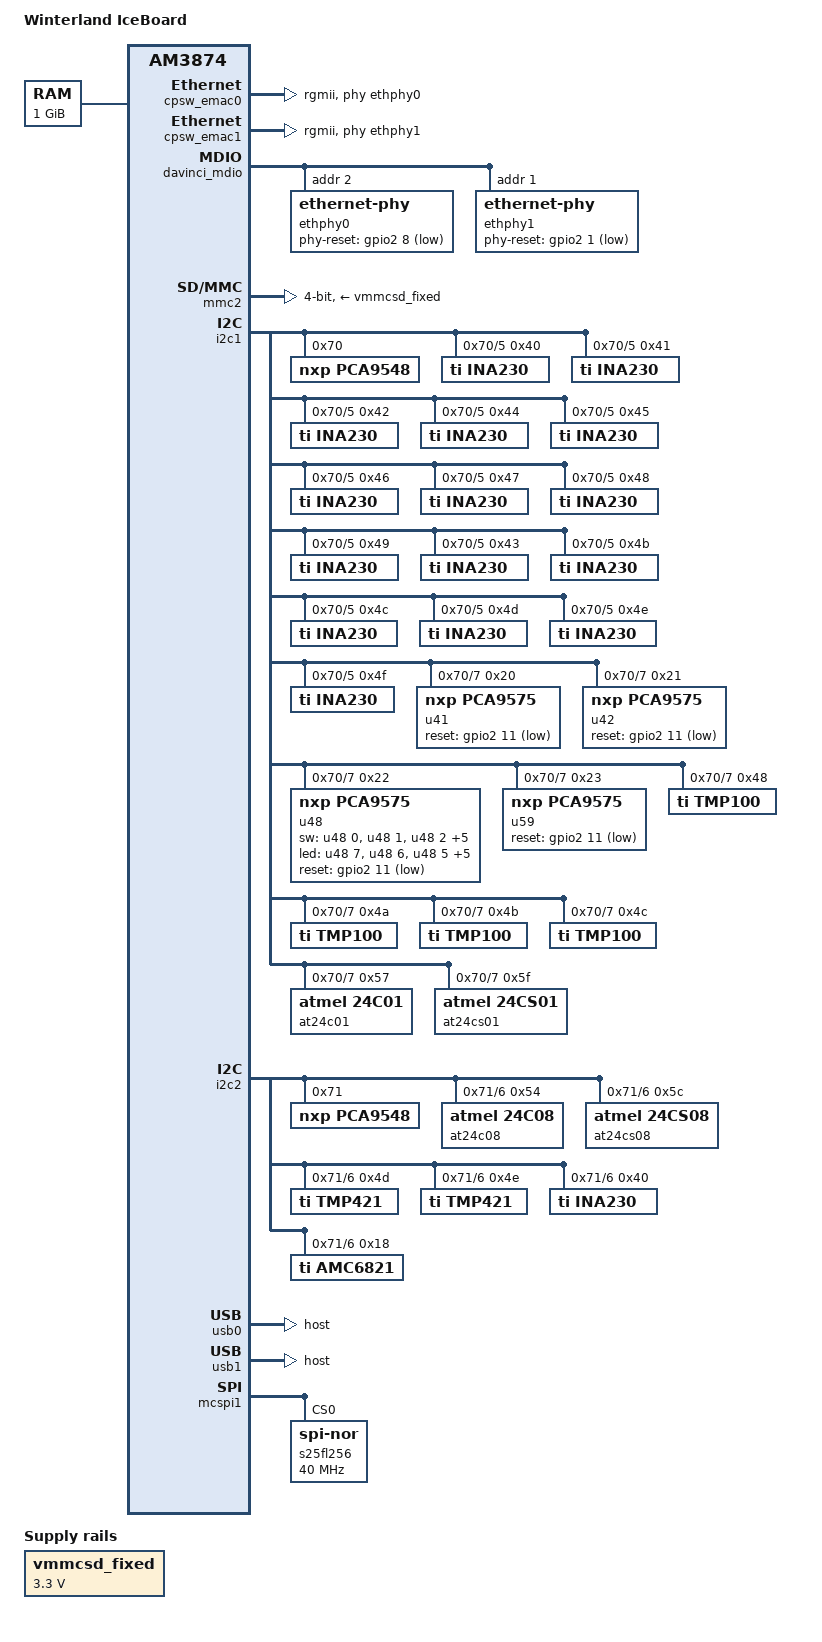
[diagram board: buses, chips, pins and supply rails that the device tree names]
// SPDX-License-Identifier: GPL-2.0
/*
 * Device tree for Winterland IceBoard
 *
 * http://mcgillcosmology.com
 * http://threespeedlogic.com
 *
 * This is an ARM + FPGA instrumentation board used at telescopes in
 * Antarctica (the South Pole Telescope), Chile (POLARBEAR), and at the DRAO
 * observatory in British Columbia (CHIME).
 *
 * Copyright (c) 2019 Three-Speed Logic, Inc. <gsmecher@threespeedlogic.com>
 */

/dts-v1/;

#include "dm814x.dtsi"
#include <dt-bindings/interrupt-controller/irq.h>

/ {
	model = "Winterland IceBoard";
	compatible = "ti,dm8148", "ti,dm814";

	chosen {
		stdout-path = "serial1:115200n8";
		bootargs = "earlycon";
	};

	memory@80000000 {
		device_type = "memory";
		reg = <0x80000000 0x40000000>;	/* 1 GB */
	};

	vmmcsd_fixed: fixedregulator0 {
		compatible = "regulator-fixed";
		regulator-name = "vmmcsd_fixed";
		regulator-min-microvolt = <3300000>;
		regulator-max-microvolt = <3300000>;
		regulator-always-on;
	};
};

/* The MAC provides internal delay for the transmit path ONLY, which is enabled
 * provided no -id/-txid/-rxid suffix is provided to "phy-mode".
 *
 * The receive path is delayed at the PHY. The recommended register settings
 * are 0xf0 for the control bits, and 0x7777 for the data bits. However, the
 * conversion code in the kernel lies: the PHY's registers are 120 ps per tap,
 * and the kernel assumes 200 ps per tap. So we have fudged the numbers here to
 * obtain the correct register settings.
 */
&mac { dual_emac = <1>; };
&cpsw_emac0 {
	phy-handle = <&ethphy0>;
	phy-mode = "rgmii";
	dual_emac_res_vlan = <1>;
};
&cpsw_emac1 {
	phy-handle = <&ethphy1>;
	phy-mode = "rgmii";
	dual_emac_res_vlan = <2>;
};

&davinci_mdio {
	ethphy0: ethernet-phy@0 {
		reg = <0x2>;

		rxc-skew-ps = <3000>;
		rxdv-skew-ps = <0>;

		rxd3-skew-ps = <0>;
		rxd2-skew-ps = <0>;
		rxd1-skew-ps = <0>;
		rxd0-skew-ps = <0>;

		phy-reset-gpios = <&gpio2 8 GPIO_ACTIVE_LOW>;
	};

	ethphy1: ethernet-phy@1 {
		reg = <0x1>;

		rxc-skew-ps = <3000>;
		rxdv-skew-ps = <0>;

		rxd3-skew-ps = <0>;
		rxd2-skew-ps = <0>;
		rxd1-skew-ps = <0>;
		rxd0-skew-ps = <0>;

		phy-reset-gpios = <&gpio2 1 GPIO_ACTIVE_LOW>;
	};
};

&mmc1 { status = "disabled"; };
&mmc2 {
	pinctrl-names = "default";
	pinctrl-0 = <&mmc2_pins>;
	vmmc-supply = <&vmmcsd_fixed>;
	bus-width = <4>;
};
&mmc3 { status = "disabled"; };

&i2c1 {
	/* Most I2C activity happens through this port, with the sole exception
	 * of the backplane. Since there are multiply assigned addresses, the
	 * "i2c-mux-idle-disconnect" is important.
	 */

	pca9548@70 {
		compatible = "nxp,pca9548";
		reg = <0x70>;
		#address-cells = <1>;
		#size-cells = <0>;

		i2c@0 {
			/* FMC A */
			#address-cells = <1>;
			#size-cells = <0>;
			reg = <0>;
			i2c-mux-idle-disconnect;
		};

		i2c@1 {
			/* FMC B */
			#address-cells = <1>;
			#size-cells = <0>;
			reg = <1>;
			i2c-mux-idle-disconnect;
		};

		i2c@2 {
			/* QSFP A */
			#address-cells = <1>;
			#size-cells = <0>;
			reg = <2>;
			i2c-mux-idle-disconnect;
		};

		i2c@3 {
			/* QSFP B */
			#address-cells = <1>;
			#size-cells = <0>;
			reg = <3>;
			i2c-mux-idle-disconnect;
		};

		i2c@4 {
			/* SFP */
			#address-cells = <1>;
			#size-cells = <0>;
			reg = <4>;
			i2c-mux-idle-disconnect;
		};

		i2c@5 {
			#address-cells = <1>;
			#size-cells = <0>;
			reg = <5>;
			i2c-mux-idle-disconnect;

			ina230@40 { compatible = "ti,ina230"; reg = <0x40>; shunt-resistor = <5000>; };
			ina230@41 { compatible = "ti,ina230"; reg = <0x41>; shunt-resistor = <5000>; };
			ina230@42 { compatible = "ti,ina230"; reg = <0x42>; shunt-resistor = <5000>; };

			ina230@44 { compatible = "ti,ina230"; reg = <0x44>; shunt-resistor = <5000>; };
			ina230@45 { compatible = "ti,ina230"; reg = <0x45>; shunt-resistor = <5000>; };
			ina230@46 { compatible = "ti,ina230"; reg = <0x46>; shunt-resistor = <5000>; };

			ina230@47 { compatible = "ti,ina230"; reg = <0x47>; shunt-resistor = <5500>; };
			ina230@48 { compatible = "ti,ina230"; reg = <0x48>; shunt-resistor = <2360>; };
			ina230@49 { compatible = "ti,ina230"; reg = <0x49>; shunt-resistor = <2360>; };
			ina230@43 { compatible = "ti,ina230"; reg = <0x43>; shunt-resistor = <2360>; };
			ina230@4b { compatible = "ti,ina230"; reg = <0x4b>; shunt-resistor = <5500>; };
			ina230@4c { compatible = "ti,ina230"; reg = <0x4c>; shunt-resistor = <2360>; };
			ina230@4d { compatible = "ti,ina230"; reg = <0x4d>; shunt-resistor = <770>; };
			ina230@4e { compatible = "ti,ina230"; reg = <0x4e>; shunt-resistor = <770>; };
			ina230@4f { compatible = "ti,ina230"; reg = <0x4f>; shunt-resistor = <770>; };
		};

		i2c@6 {
			/* Backplane */
			#address-cells = <1>;
			#size-cells = <0>;
			reg = <6>;
			i2c-mux-idle-disconnect;
		};

		i2c@7 {
			#address-cells = <1>;
			#size-cells = <0>;
			reg = <7>;
			i2c-mux-idle-disconnect;

			u41: pca9575@20 {
				compatible = "nxp,pca9575";
				reg = <0x20>;
				gpio-controller;
				#gpio-cells = <2>;

				gpio-line-names =
					"FMCA_EN_12V0", "FMCA_EN_3V3", "FMCA_EN_VADJ", "FMCA_PG_M2C",
					"FMCA_PG_C2M", "FMCA_PRSNT_M2C_L", "FMCA_CLK_DIR", "SFP_LOS",
					"FMCB_EN_12V0", "FMCB_EN_3V3", "FMCB_EN_VADJ", "FMCB_PG_M2C",
					"FMCB_PG_C2M", "FMCB_PRSNT_M2C_L", "FMCB_CLK_DIR", "SFP_ModPrsL";
				reset_gpios = <&gpio2 11 GPIO_ACTIVE_LOW>;
			};

			u42: pca9575@21 {
				compatible = "nxp,pca9575";
				reg = <0x21>;
				gpio-controller;
				#gpio-cells = <2>;
				gpio-line-names =
					"QSFPA_ModPrsL", "QSFPA_IntL", "QSFPA_ResetL", "QSFPA_ModSelL",
					"QSFPA_LPMode", "QSFPB_ModPrsL", "QSFPB_IntL", "QSFPB_ResetL",
					"SFP_TxFault", "SFP_TxDisable", "SFP_RS0", "SFP_RS1",
					"QSFPB_ModSelL", "QSFPB_LPMode", "SEL_SFP", "ARM_MR";
				reset_gpios = <&gpio2 11 GPIO_ACTIVE_LOW>;
			};

			u48: pca9575@22 {
				compatible = "nxp,pca9575";
				reg=<0x22>;
				gpio-controller;
				#gpio-cells = <2>;

				sw-gpios = <&u48 0 0>, <&u48 1 0>, <&u48 2 0>, <&u48 3 0>,
					<&u48 4 0>, <&u48 5 0>, <&u48 6 0>, <&u48 7 0>;
				led-gpios = <&u48 7 0>, <&u48 6 0>, <&u48 5 0>, <&u48 4 0>,
					<&u48 3 0>, <&u48 2 0>, <&u48 1 0>, <&u48 0 0>;

				gpio-line-names =
					"GP_SW1", "GP_SW2", "GP_SW3", "GP_SW4",
					"GP_SW5", "GP_SW6", "GP_SW7", "GP_SW8",
					"GP_LED8", "GP_LED7", "GP_LED6", "GP_LED5",
					"GP_LED4", "GP_LED3", "GP_LED2", "GP_LED1";
				reset_gpios = <&gpio2 11 GPIO_ACTIVE_LOW>;
			};

			u59: pca9575@23 {
				compatible = "nxp,pca9575";
				reg=<0x23>;
				gpio-controller;
				#gpio-cells = <2>;
				gpio-line-names =
					"GP_LED9", "GP_LED10", "GP_LED11", "GP_LED12",
					"GTX1V8PowerFault", "PHYAPowerFault", "PHYBPowerFault", "ArmPowerFault",
					"BP_SLOW_GPIO0", "BP_SLOW_GPIO1", "BP_SLOW_GPIO2", "BP_SLOW_GPIO3",
					"BP_SLOW_GPIO4", "BP_SLOW_GPIO5", "__unused_u59_p16", "__unused_u59_p17";
				reset_gpios = <&gpio2 11 GPIO_ACTIVE_LOW>;
			};

			tmp100@48 { compatible = "ti,tmp100"; reg = <0x48>; };
			tmp100@4a { compatible = "ti,tmp100"; reg = <0x4a>; };
			tmp100@4b { compatible = "ti,tmp100"; reg = <0x4b>; };
			tmp100@4c { compatible = "ti,tmp100"; reg = <0x4c>; };

			/* EEPROM bank and serial number are treated as separate devices */
			at24c01@57 { compatible = "atmel,24c01"; reg = <0x57>; };
			at24cs01@5f { compatible = "atmel,24cs01"; reg = <0x5f>; };
		};
	};
};

&i2c2 {
	pca9548@71 {
		compatible = "nxp,pca9548";
		reg = <0x71>;
		#address-cells = <1>;
		#size-cells = <0>;

		i2c@6 {
			/* Backplane */
			#address-cells = <1>;
			#size-cells = <0>;
			reg = <6>;
			multi-master;

			/* All backplanes should have this -- it's how we know they're there. */
			at24c08@54 { compatible="atmel,24c08"; reg=<0x54>; };
			at24cs08@5c { compatible="atmel,24cs08"; reg=<0x5c>; };

			/* 16 slot backplane */
			tmp421@4d { compatible="ti,tmp421"; reg=<0x4d>; };
			tmp421@4e { compatible="ti,tmp421"; reg=<0x4e>; };
			ina230@40 { compatible = "ti,ina230"; reg = <0x40>; shunt-resistor = <2360>; };
			amc6821@18 { compatible = "ti,amc6821"; reg = <0x18>; };

			/* Single slot backplane */
		};
	};
};

&pincntl {
	mmc2_pins: pinmux_mmc2_pins {
		pinctrl-single,pins = <
			DM814X_IOPAD(0x0800, PIN_INPUT | 0x1)	/* SD1_CLK */
			DM814X_IOPAD(0x0804, PIN_INPUT_PULLUP | 0x1)	/* SD1_CMD */
			DM814X_IOPAD(0x0808, PIN_INPUT_PULLUP | 0x1)	/* SD1_DAT[0] */
			DM814X_IOPAD(0x080c, PIN_INPUT_PULLUP | 0x1)	/* SD1_DAT[1] */
			DM814X_IOPAD(0x0810, PIN_INPUT_PULLUP | 0x1)	/* SD1_DAT[2] */
			DM814X_IOPAD(0x0814, PIN_INPUT_PULLUP | 0x1)	/* SD1_DAT[3] */
			DM814X_IOPAD(0x0924, PIN_INPUT_PULLUP | 0x40)	/* SD1_POW */
			DM814X_IOPAD(0x0928, PIN_INPUT | 0x40)	/* SD1_SDWP */
			DM814X_IOPAD(0x093C, PIN_INPUT | 0x2)	/* SD1_SDCD */
			>;
	};

	usb0_pins: pinmux_usb0_pins {
		pinctrl-single,pins = <
			DM814X_IOPAD(0x0c34, PIN_OUTPUT | 0x1)	/* USB0_DRVVBUS */
			>;
	};

	usb1_pins: pinmux_usb1_pins {
		pinctrl-single,pins = <
			DM814X_IOPAD(0x0834, PIN_OUTPUT | 0x80)	/* USB1_DRVVBUS */
			>;
	};

	gpio1_pins: pinmux_gpio1_pins {
		pinctrl-single,pins = <
			DM814X_IOPAD(0x081c, PIN_OUTPUT | 0x80)	/* PROGRAM_B */
			DM814X_IOPAD(0x0820, PIN_INPUT | 0x80)	/* INIT_B */
			DM814X_IOPAD(0x0824, PIN_INPUT | 0x80)	/* DONE */

			DM814X_IOPAD(0x0838, PIN_INPUT_PULLUP | 0x80) /* FMCA_TMS */
			DM814X_IOPAD(0x083c, PIN_INPUT_PULLUP | 0x80) /* FMCA_TCK */
			DM814X_IOPAD(0x0898, PIN_INPUT_PULLUP | 0x80) /* FMCA_TDO */
			DM814X_IOPAD(0x089c, PIN_INPUT_PULLUP | 0x80) /* FMCA_TDI */
			DM814X_IOPAD(0x08ac, PIN_INPUT_PULLUP | 0x80) /* FMCA_TRST */

			DM814X_IOPAD(0x08b0, PIN_INPUT_PULLUP | 0x80) /* FMCB_TMS */
			DM814X_IOPAD(0x0a88, PIN_INPUT_PULLUP | 0x80) /* FMCB_TCK */
			DM814X_IOPAD(0x0a8c, PIN_INPUT_PULLUP | 0x80) /* FMCB_TDO */
			DM814X_IOPAD(0x08bc, PIN_INPUT_PULLUP | 0x80) /* FMCB_TDI */
			DM814X_IOPAD(0x0a94, PIN_INPUT_PULLUP | 0x80) /* FMCB_TRST */

			DM814X_IOPAD(0x08d4, PIN_INPUT_PULLUP | 0x80) /* FPGA_TMS */
			DM814X_IOPAD(0x0aa8, PIN_INPUT_PULLUP | 0x80) /* FPGA_TCK */
			DM814X_IOPAD(0x0adc, PIN_INPUT_PULLUP | 0x80) /* FPGA_TDO */
			DM814X_IOPAD(0x0ab0, PIN_INPUT_PULLUP | 0x80) /* FPGA_TDI */
			>;
	};

	gpio2_pins: pinmux_gpio2_pins {
		pinctrl-single,pins = <
			DM814X_IOPAD(0x090c, PIN_INPUT_PULLUP | 0x80) /* PHY A IRQ */
			DM814X_IOPAD(0x0910, PIN_INPUT_PULLUP | 0x80) /* PHY A RESET */
			DM814X_IOPAD(0x08f4, PIN_INPUT_PULLUP | 0x80) /* PHY B IRQ */
			DM814X_IOPAD(0x08f8, PIN_INPUT_PULLUP | 0x80) /* PHY B RESET */

			//DM814X_IOPAD(0x0a14, PIN_INPUT_PULLUP | 0x80) /* ARM IRQ */
			//DM814X_IOPAD(0x0900, PIN_INPUT | 0x80) /* GPIO IRQ */
			DM814X_IOPAD(0x0a2c, PIN_INPUT_PULLUP | 0x80) /* GPIO RESET */
		>;
	};

	gpio4_pins: pinmux_gpio4_pins {
		pinctrl-single,pins = <
			/* The PLL doesn't react well to the SPI controller reset, so
			 * we force the CS lines to pull up as GPIOs until we're ready.
			 * See https://e2e.ti.com/support/processors/f/791/t/276011?Linux-support-for-AM3874-DM8148-in-Arago-linux-omap3
			 */
			DM814X_IOPAD(0x0b3c, PIN_INPUT_PULLUP | 0x80) /* BP_ARM_GPIO0 */
			DM814X_IOPAD(0x0b40, PIN_INPUT_PULLUP | 0x80) /* BP_ARM_GPIO1 */
			DM814X_IOPAD(0x0b44, PIN_INPUT_PULLUP | 0x80) /* BP_ARM_GPIO2 */
			DM814X_IOPAD(0x0b48, PIN_INPUT_PULLUP | 0x80) /* BP_ARM_GPIO3 */
			DM814X_IOPAD(0x0b4c, PIN_INPUT_PULLUP | 0x80) /* BP_ARM_GPIO4 */
			DM814X_IOPAD(0x0b50, PIN_INPUT_PULLUP | 0x80) /* BP_ARM_GPIO5 */
		>;
	};

	spi2_pins: pinmux_spi2_pins {
		pinctrl-single,pins = <
			DM814X_IOPAD(0x0950, PIN_INPUT_PULLUP | 0x80) /* PLL SPI CS1 as GPIO */
			DM814X_IOPAD(0x0818, PIN_INPUT_PULLUP | 0x80) /* PLL SPI CS2 as GPIO */
		>;
	};

	spi4_pins: pinmux_spi4_pins {
		pinctrl-single,pins = <
			DM814X_IOPAD(0x0a7c, 0x20)
			DM814X_IOPAD(0x0b74, 0x20)
			DM814X_IOPAD(0x0b78, PIN_OUTPUT | 0x20)
			DM814X_IOPAD(0x0b7c, PIN_OUTPUT_PULLDOWN | 0x20)
			DM814X_IOPAD(0x0b80, PIN_INPUT | 0x20)
		>;
	};
};

&gpio1 {
	pinctrl-names = "default";
	pinctrl-0 = <&gpio1_pins>;
	gpio-line-names =
		"", "PROGRAM_B", "INIT_B", "DONE",			/* 0-3 */
		"", "", "", "",						/* 4-7 */
		"FMCA_TMS", "FMCA_TCK", "FMCA_TDO", "FMCA_TDI",		/* 8-11 */
		"", "", "", "FMCA_TRST",				/* 12-15 */
		"FMCB_TMS", "FMCB_TCK", "FMCB_TDO", "FMCB_TDI",		/* 16-19 */
		"FMCB_TRST", "", "", "",				/* 20-23 */
		"FPGA_TMS", "FPGA_TCK", "FPGA_TDO", "FPGA_TDI",		/* 24-27 */
		"", "", "", "";						/* 28-31 */
};

&gpio2 {
	pinctrl-names = "default";
	pinctrl-0 = <&gpio2_pins>;
	gpio-line-names =
		"PHYA_IRQ_N", "PHYA_RESET_N", "", "",			/* 0-3 */
		"", "", "", "PHYB_IRQ_N",				/* 4-7 */
		"PHYB_RESET_N", "ARM_IRQ", "GPIO_IRQ", "";		/* 8-11 */
};

&gpio3 {
	pinctrl-names = "default";
	/*pinctrl-0 = <&gpio3_pins>;*/
	gpio-line-names =
		"", "", "ARMClkSel0", "",				/* 0-3 */
		"EnFPGARef", "", "", "ARMClkSel1";			/* 4-7 */
};

&gpio4 {
	pinctrl-names = "default";
	pinctrl-0 = <&gpio4_pins>;
	gpio-line-names =
		"BP_ARM_GPIO0", "BP_ARM_GPIO1", "BP_ARM_GPIO2", "BP_ARM_GPIO3",
		"BP_ARM_GPIO4", "BP_ARM_GPIO5";
};

&usb0 {
	pinctrl-names = "default";
	pinctrl-0 = <&usb0_pins>;
	dr_mode = "host";
};

&usb1 {
	pinctrl-names = "default";
	pinctrl-0 = <&usb1_pins>;
	dr_mode = "host";
};

&mcspi1 {
	s25fl256@0 {
		#address-cells = <1>;
		#size-cells = <1>;
		compatible = "jedec,spi-nor";
		reg = <0>;
		spi-max-frequency = <40000000>;

		fsbl@0 {
			/* 256 kB */
			label = "U-Boot-min";
			reg = <0 0x40000>;
		};
		ssbl@1 {
			/* 512 kB */
			label = "U-Boot";
			reg = <0x40000 0x80000>;
		};
		bootenv@2 {
			/* 256 kB */
			label = "U-Boot Env";
			reg = <0xc0000 0x40000>;
		};
		kernel@3 {
			/* 4 MB */
			label = "Kernel";
			reg = <0x100000 0x400000>;
		};
		ipmi@4 {
			label = "IPMI FRU";
			reg = <0x500000 0x40000>;
		};
		fs@5 {
			label = "File System";
			reg = <0x540000 0x1ac0000>;
		};
	};
};

&mcspi3 {
	/* DMA event numbers stolen from MCASP */
	dmas = <&edma_xbar 8 0 16 &edma_xbar 9 0 17
		&edma_xbar 10 0 18 &edma_xbar 11 0 19>;
	dma-names = "tx0", "rx0", "tx1", "rx1";
};

&mcspi4 {
	pinctrl-names = "default";
	pinctrl-0 = <&spi4_pins>;

	/* DMA event numbers stolen from MCASP, MCBSP */
	dmas = <&edma_xbar 12 0 20 &edma_xbar 13 0 21>;
	dma-names = "tx0", "rx0";
};
